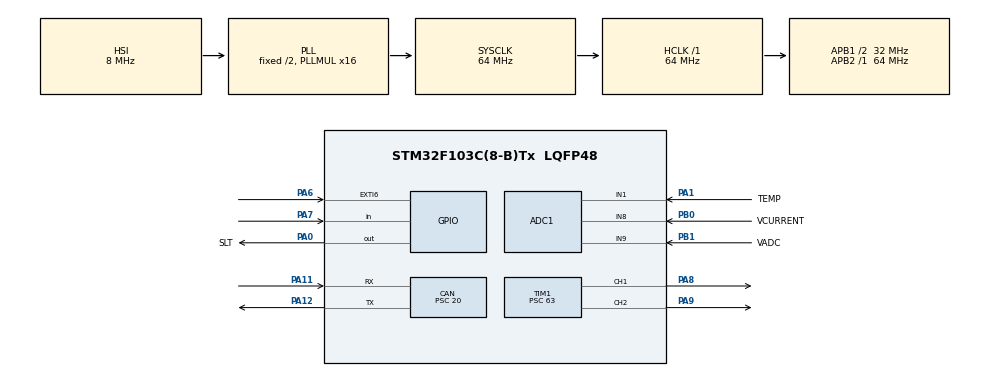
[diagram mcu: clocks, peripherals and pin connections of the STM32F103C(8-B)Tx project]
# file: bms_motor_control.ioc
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ADC1.Channel-0\#ChannelRegularConversion=ADC_CHANNEL_1
ADC1.NbrOfConversionFlag=1
ADC1.Rank-0\#ChannelRegularConversion=1
ADC1.SamplingTime-0\#ChannelRegularConversion=ADC_SAMPLETIME_1CYCLE_5
ADC1.master=1
CAN.BS1=CAN_BS1_13TQ
CAN.BS2=CAN_BS2_2TQ
CAN.CalculateBaudRate=100000
CAN.CalculateTimeBit=10000
CAN.CalculateTimeQuantum=625.0
CAN.Prescaler=20
Mcu.Family=STM32F1
Mcu.Name=STM32F103C(8-B)Tx
Mcu.Package=LQFP48
NVIC.EXTI9_5_IRQn=true\:0\:0\:true\:false\:true\:true\:true\:true
NVIC.PriorityGroup=NVIC_PRIORITYGROUP_4
NVIC.TIM2_IRQn=true\:2\:0\:true\:false\:true\:true\:true\:true
NVIC.USB_LP_CAN1_RX0_IRQn=true\:0\:0\:false\:false\:true\:true\:true\:true
PA0-WKUP.GPIO_Label=SLT
PA0-WKUP.Signal=GPIO_Output
PA1.GPIO_Label=TEMP
PA1.Signal=ADCx_IN1
PA11.Mode=CAN_Activate
PA11.Signal=CAN_RX
PA12.Mode=CAN_Activate
PA12.Signal=CAN_TX
PA13.Mode=Serial_Wire
PA13.Signal=SYS_JTMS-SWDIO
PA14.Mode=Serial_Wire
PA14.Signal=SYS_JTCK-SWCLK
PA6.GPIO_ModeDefaultEXTI=GPIO_MODE_IT_RISING_FALLING
PA6.GPIO_PuPd=GPIO_PULLUP
PA6.Signal=GPXTI6
PA7.GPIO_PuPd=GPIO_PULLUP
PA7.Signal=GPIO_Input
PA8.Signal=S_TIM1_CH1
PA9.Signal=S_TIM1_CH2
PB0.GPIO_Label=VCURRENT
PB0.Signal=ADCx_IN8
PB1.GPIO_Label=VADC
PB1.Signal=ADCx_IN9
ProjectManager.HeapSize=0x200
ProjectManager.StackSize=0x400
ProjectManager.TargetToolchain=STM32CubeIDE
RCC.ADCPresc=RCC_ADCPCLK2_DIV6
RCC.AHBFreq_Value=64000000
RCC.APB1CLKDivider=RCC_HCLK_DIV2
RCC.APB1Freq_Value=32000000
RCC.APB1TimFreq_Value=64000000
RCC.APB2Freq_Value=64000000
RCC.APB2TimFreq_Value=64000000
RCC.HCLKFreq_Value=64000000
RCC.PLLMUL=RCC_PLL_MUL16
RCC.SYSCLKFreq_VALUE=64000000
RCC.SYSCLKSource=RCC_SYSCLKSOURCE_PLLCLK
RCC.USBFreq_Value=64000000
SH.ADCx_IN1.0=ADC1_IN1,IN1
SH.ADCx_IN8.0=ADC1_IN8,IN8
SH.ADCx_IN9.0=ADC1_IN9,IN9
SH.S_TIM1_CH1.0=TIM1_CH1,PWM Generation1 CH1
SH.S_TIM1_CH2.0=TIM1_CH2,PWM Generation2 CH2
TIM1.Channel-PWM\ Generation1\ CH1=TIM_CHANNEL_1
TIM1.Channel-PWM\ Generation2\ CH2=TIM_CHANNEL_2
TIM1.Period=99
TIM1.Prescaler=63
TIM2.Period=100
TIM2.Prescaler=64000-1
VP_TIM1_VS_ClockSourceINT.Mode=Internal
VP_TIM2_VS_ClockSourceINT.Mode=Internal
board=custom

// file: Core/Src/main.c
/* USER CODE BEGIN Header */
/**
  ******************************************************************************
  * @file           : main.c
  * @brief          : Main program body
  ******************************************************************************
  * @attention
  *
  * Copyright (c) 2026 STMicroelectronics.
  * All rights reserved.
  *
  * This software is licensed under terms that can be found in the LICENSE file
  * in the root directory of this software component.
  * If no LICENSE file comes with this software, it is provided AS-IS.
  *
  ******************************************************************************
  */
/* USER CODE END Header */
#include "main.h"

/* USER CODE BEGIN Includes */
#include "sensor.h"
#include "motor.h"
#include "stdio.h"
/* USER CODE END Includes */

/* USER CODE BEGIN PD */
#define PPR 2640      // chỉnh theo motor
#define SAMPLE_TIME 0.1f  // 100ms
/* USER CODE END PD */

ADC_HandleTypeDef hadc1;

CAN_HandleTypeDef hcan;

TIM_HandleTypeDef htim1;
TIM_HandleTypeDef htim2;

/* USER CODE BEGIN PV */

volatile float rpm = 0;

float soc = 0.0;

CAN_RxHeaderTypeDef	RxHeader;
uint8_t RxData[2];
uint8_t RxCmdFlag;

CAN_TxHeaderTypeDef   TxHeader =
{
	.IDE = CAN_ID_STD,
	.RTR = CAN_RTR_DATA,
	.TransmitGlobalTime = DISABLE
};
uint8_t               TxData[8];
uint32_t              TxMailbox;
/* USER CODE END PV */

void SystemClock_Config(void);
static void MX_GPIO_Init(void);
static void MX_ADC1_Init(void);
static void MX_TIM1_Init(void);
static void MX_CAN_Init(void);
static void MX_TIM2_Init(void);
/* USER CODE BEGIN PFP */
volatile int32_t encoder_count = 0;
volatile int32_t last_count = 0;
void HAL_GPIO_EXTI_Callback(uint16_t GPIO_Pin)
{
    if (GPIO_Pin == GPIO_PIN_6)
    {
        encoder_count++;
    }
}

void HAL_TIM_PeriodElapsedCallback(TIM_HandleTypeDef *htim)
{
    if(htim->Instance == TIM2) // 100ms
    {
        int32_t now = encoder_count;
        int32_t delta = now - last_count;
        last_count = now;

        rpm = (delta * 600.0f) / PPR;
    }
}

void HAL_CAN_RxFifo0MsgPendingCallback(CAN_HandleTypeDef *hcan)
{
    if (HAL_CAN_GetError(hcan) != HAL_CAN_ERROR_NONE)
        return;
    HAL_CAN_GetRxMessage(hcan, CAN_RX_FIFO0, &RxHeader, RxData);

    if(RxHeader.StdId == 0x105 && RxHeader.DLC == 2)
    {
    	RxCmdFlag = 1;
    }
}

/* USER CODE END PFP */

/* USER CODE BEGIN 0 */
float offset = 0.0;
float temp = 0.0;
float Vbat = 0.0;
float current = 0.0;
float speed = 50;
/* USER CODE END 0 */

int main(void)
{

  /* MCU Configuration--------------------------------------------------------*/

  /* Reset of all peripherals, Initializes the Flash interface and the Systick. */
  HAL_Init();

  /* Configure the system clock */
  SystemClock_Config();

  /* Initialize all configured peripherals */
  MX_GPIO_Init();
  MX_ADC1_Init();
  MX_TIM1_Init();
  MX_CAN_Init();
  MX_TIM2_Init();
  /* USER CODE BEGIN 2 */
  HAL_CAN_Start(&hcan);

  HAL_TIM_Base_Start_IT(&htim2);
  Motor_Init(&htim1);
  Stop();

  offset = readOffset();
  /* USER CODE END 2 */

  /* Infinite loop */
  /* USER CODE BEGIN WHILE */
  HAL_Delay(100U);

  HAL_GPIO_WritePin(SLT_GPIO_Port, SLT_Pin, 0);
  HAL_CAN_ActivateNotification(&hcan, CAN_IT_RX_FIFO0_MSG_PENDING);

  while (1)
  {
    /* USER CODE END WHILE */

    /* USER CODE BEGIN 3 */
	temp = readTemperature();
	Vbat = readVbat();
	soc = (Vbat / 12.6) * 100;
	current = readCurrent(offset);

	/* Vehicle speed - read from pc */

	/* Motor status - read from pc */

	/* Battery voltage - send to pc */
	TxHeader.StdId = 0x401;
	TxHeader.DLC = 4;
	memcpy(TxData, &Vbat, 4);
	if(HAL_CAN_GetTxMailboxesFreeLevel(&hcan) > 0)
	{
		if (HAL_CAN_AddTxMessage(&hcan, &TxHeader, TxData, &TxMailbox) != HAL_OK)
		{
		   Error_Handler ();
		}
		HAL_Delay(1);
	}

	/* Battery current - send to pc */
	TxHeader.StdId = 0x402;
	TxHeader.DLC = 4;
	memcpy(TxData, &current, 4);
	if(HAL_CAN_GetTxMailboxesFreeLevel(&hcan) > 0)
	{
		if (HAL_CAN_AddTxMessage(&hcan, &TxHeader, TxData, &TxMailbox) != HAL_OK)
		{
		   Error_Handler ();
		}
		HAL_Delay(1);
	}

	/* Battery temp - send to pc */
	TxHeader.StdId = 0x403;
	TxHeader.DLC = 4;
	memcpy(TxData, &temp, 4);
	if(HAL_CAN_GetTxMailboxesFreeLevel(&hcan) > 0)
	{
		if (HAL_CAN_AddTxMessage(&hcan, &TxHeader, TxData, &TxMailbox) != HAL_OK)
		{
		   Error_Handler ();
		}
		HAL_Delay(1);
	}

	/* Battery soc - send to pc */
	TxHeader.StdId = 0x404;
	TxHeader.DLC = 4;
	memcpy(TxData, &soc, 4);
	if(HAL_CAN_GetTxMailboxesFreeLevel(&hcan) > 0)
	{
		if (HAL_CAN_AddTxMessage(&hcan, &TxHeader, TxData, &TxMailbox) != HAL_OK)
		{
		   Error_Handler ();
		}
		HAL_Delay(1);
	}

	/* Vehicle speed - send to pc rpm */
	TxHeader.StdId = 0x101;
	TxHeader.DLC = 4;
	memcpy(TxData, &rpm, 4);
	if(HAL_CAN_GetTxMailboxesFreeLevel(&hcan) > 0)
	{
		if (HAL_CAN_AddTxMessage(&hcan, &TxHeader, TxData, &TxMailbox) != HAL_OK)
		{
		   Error_Handler ();
		}
		HAL_Delay(1);
	}

	if(RxCmdFlag == 1)
	{
		/* Do cmd */
		if(RxData[0] == 1)
		{
			/* Go forward */
			uint8_t speed = RxData[1];
			goForward(speed);
		}
		else if(RxData[0] == 2)
		{
			/* Go backward */
			uint8_t speed = RxData[1];
			goBackward(speed);
		}
		else if(RxData[0] == 0)
		{
			/* Stop */
			Stop();
		}
		else
		{

		}
	}
	HAL_Delay(30U);
  }
  /* USER CODE END 3 */
}

void SystemClock_Config(void)
{
  RCC_OscInitTypeDef RCC_OscInitStruct = {0};
  RCC_ClkInitTypeDef RCC_ClkInitStruct = {0};
  RCC_PeriphCLKInitTypeDef PeriphClkInit = {0};

  /** Initializes the RCC Oscillators according to the specified parameters
  * in the RCC_OscInitTypeDef structure.
  */
  RCC_OscInitStruct.OscillatorType = RCC_OSCILLATORTYPE_HSI;
  RCC_OscInitStruct.HSIState = RCC_HSI_ON;
  RCC_OscInitStruct.HSICalibrationValue = RCC_HSICALIBRATION_DEFAULT;
  RCC_OscInitStruct.PLL.PLLState = RCC_PLL_ON;
  RCC_OscInitStruct.PLL.PLLSource = RCC_PLLSOURCE_HSI_DIV2;
  RCC_OscInitStruct.PLL.PLLMUL = RCC_PLL_MUL16;
  if (HAL_RCC_OscConfig(&RCC_OscInitStruct) != HAL_OK)
  {
    Error_Handler();
  }

  /** Initializes the CPU, AHB and APB buses clocks
  */
  RCC_ClkInitStruct.ClockType = RCC_CLOCKTYPE_HCLK|RCC_CLOCKTYPE_SYSCLK
                              |RCC_CLOCKTYPE_PCLK1|RCC_CLOCKTYPE_PCLK2;
  RCC_ClkInitStruct.SYSCLKSource = RCC_SYSCLKSOURCE_PLLCLK;
  RCC_ClkInitStruct.AHBCLKDivider = RCC_SYSCLK_DIV1;
  RCC_ClkInitStruct.APB1CLKDivider = RCC_HCLK_DIV2;
  RCC_ClkInitStruct.APB2CLKDivider = RCC_HCLK_DIV1;

  if (HAL_RCC_ClockConfig(&RCC_ClkInitStruct, FLASH_LATENCY_2) != HAL_OK)
  {
    Error_Handler();
  }
  PeriphClkInit.PeriphClockSelection = RCC_PERIPHCLK_ADC;
  PeriphClkInit.AdcClockSelection = RCC_ADCPCLK2_DIV6;
  if (HAL_RCCEx_PeriphCLKConfig(&PeriphClkInit) != HAL_OK)
  {
    Error_Handler();
  }
}

static void MX_ADC1_Init(void)
{

  ADC_ChannelConfTypeDef sConfig = {0};

  /** Common config
  */
  hadc1.Instance = ADC1;
  hadc1.Init.ScanConvMode = ADC_SCAN_DISABLE;
  hadc1.Init.ContinuousConvMode = DISABLE;
  hadc1.Init.DiscontinuousConvMode = DISABLE;
  hadc1.Init.ExternalTrigConv = ADC_SOFTWARE_START;
  hadc1.Init.DataAlign = ADC_DATAALIGN_RIGHT;
  hadc1.Init.NbrOfConversion = 1;
  if (HAL_ADC_Init(&hadc1) != HAL_OK)
  {
    Error_Handler();
  }

  /** Configure Regular Channel
  */
  sConfig.Channel = ADC_CHANNEL_1;
  sConfig.Rank = ADC_REGULAR_RANK_1;
  sConfig.SamplingTime = ADC_SAMPLETIME_1CYCLE_5;
  if (HAL_ADC_ConfigChannel(&hadc1, &sConfig) != HAL_OK)
  {
    Error_Handler();
  }

}

static void MX_CAN_Init(void)
{

  hcan.Instance = CAN1;
  hcan.Init.Prescaler = 20;
  hcan.Init.Mode = CAN_MODE_NORMAL;
  hcan.Init.SyncJumpWidth = CAN_SJW_1TQ;
  hcan.Init.TimeSeg1 = CAN_BS1_13TQ;
  hcan.Init.TimeSeg2 = CAN_BS2_2TQ;
  hcan.Init.TimeTriggeredMode = DISABLE;
  hcan.Init.AutoBusOff = DISABLE;
  hcan.Init.AutoWakeUp = DISABLE;
  hcan.Init.AutoRetransmission = DISABLE;
  hcan.Init.ReceiveFifoLocked = DISABLE;
  hcan.Init.TransmitFifoPriority = DISABLE;
  if (HAL_CAN_Init(&hcan) != HAL_OK)
  {
    Error_Handler();
  }
  /* USER CODE BEGIN CAN_Init 2 */
  CAN_FilterTypeDef canfilterconfig;

  canfilterconfig.FilterActivation = CAN_FILTER_ENABLE;
  canfilterconfig.FilterBank = 13;  // which filter bank to use from the assigned ones
  canfilterconfig.FilterFIFOAssignment = CAN_FILTER_FIFO0;
  canfilterconfig.FilterIdHigh = 0x0000;
  canfilterconfig.FilterIdLow = 0x0000;
  canfilterconfig.FilterMaskIdHigh = 0x0000;
  canfilterconfig.FilterMaskIdLow = 0x0000;
  canfilterconfig.FilterMode = CAN_FILTERMODE_IDMASK;
  canfilterconfig.FilterScale = CAN_FILTERSCALE_32BIT;
  canfilterconfig.SlaveStartFilterBank = 13;  // how many filters to assign to the CAN1 (master can)

  HAL_CAN_ConfigFilter(&hcan, &canfilterconfig);
  /* USER CODE END CAN_Init 2 */

}

static void MX_TIM1_Init(void)
{

  TIM_ClockConfigTypeDef sClockSourceConfig = {0};
  TIM_MasterConfigTypeDef sMasterConfig = {0};
  TIM_OC_InitTypeDef sConfigOC = {0};
  TIM_BreakDeadTimeConfigTypeDef sBreakDeadTimeConfig = {0};

  htim1.Instance = TIM1;
  htim1.Init.Prescaler = 63;
  htim1.Init.CounterMode = TIM_COUNTERMODE_UP;
  htim1.Init.Period = 99;
  htim1.Init.ClockDivision = TIM_CLOCKDIVISION_DIV1;
  htim1.Init.RepetitionCounter = 0;
  htim1.Init.AutoReloadPreload = TIM_AUTORELOAD_PRELOAD_DISABLE;
  if (HAL_TIM_Base_Init(&htim1) != HAL_OK)
  {
    Error_Handler();
  }
  sClockSourceConfig.ClockSource = TIM_CLOCKSOURCE_INTERNAL;
  if (HAL_TIM_ConfigClockSource(&htim1, &sClockSourceConfig) != HAL_OK)
  {
    Error_Handler();
  }
  if (HAL_TIM_PWM_Init(&htim1) != HAL_OK)
  {
    Error_Handler();
  }
  sMasterConfig.MasterOutputTrigger = TIM_TRGO_RESET;
  sMasterConfig.MasterSlaveMode = TIM_MASTERSLAVEMODE_DISABLE;
  if (HAL_TIMEx_MasterConfigSynchronization(&htim1, &sMasterConfig) != HAL_OK)
  {
    Error_Handler();
  }
  sConfigOC.OCMode = TIM_OCMODE_PWM1;
  sConfigOC.Pulse = 0;
  sConfigOC.OCPolarity = TIM_OCPOLARITY_HIGH;
  sConfigOC.OCNPolarity = TIM_OCNPOLARITY_HIGH;
  sConfigOC.OCFastMode = TIM_OCFAST_DISABLE;
  sConfigOC.OCIdleState = TIM_OCIDLESTATE_RESET;
  sConfigOC.OCNIdleState = TIM_OCNIDLESTATE_RESET;
  if (HAL_TIM_PWM_ConfigChannel(&htim1, &sConfigOC, TIM_CHANNEL_1) != HAL_OK)
  {
    Error_Handler();
  }
  if (HAL_TIM_PWM_ConfigChannel(&htim1, &sConfigOC, TIM_CHANNEL_2) != HAL_OK)
  {
    Error_Handler();
  }
  sBreakDeadTimeConfig.OffStateRunMode = TIM_OSSR_DISABLE;
  sBreakDeadTimeConfig.OffStateIDLEMode = TIM_OSSI_DISABLE;
  sBreakDeadTimeConfig.LockLevel = TIM_LOCKLEVEL_OFF;
  sBreakDeadTimeConfig.DeadTime = 0;
  sBreakDeadTimeConfig.BreakState = TIM_BREAK_DISABLE;
  sBreakDeadTimeConfig.BreakPolarity = TIM_BREAKPOLARITY_HIGH;
  sBreakDeadTimeConfig.AutomaticOutput = TIM_AUTOMATICOUTPUT_DISABLE;
  if (HAL_TIMEx_ConfigBreakDeadTime(&htim1, &sBreakDeadTimeConfig) != HAL_OK)
  {
    Error_Handler();
  }
  HAL_TIM_MspPostInit(&htim1);

}

static void MX_TIM2_Init(void)
{

  TIM_ClockConfigTypeDef sClockSourceConfig = {0};
  TIM_MasterConfigTypeDef sMasterConfig = {0};

  htim2.Instance = TIM2;
  htim2.Init.Prescaler = 64000-1;
  htim2.Init.CounterMode = TIM_COUNTERMODE_UP;
  htim2.Init.Period = 100;
  htim2.Init.ClockDivision = TIM_CLOCKDIVISION_DIV1;
  htim2.Init.AutoReloadPreload = TIM_AUTORELOAD_PRELOAD_DISABLE;
  if (HAL_TIM_Base_Init(&htim2) != HAL_OK)
  {
    Error_Handler();
  }
  sClockSourceConfig.ClockSource = TIM_CLOCKSOURCE_INTERNAL;
  if (HAL_TIM_ConfigClockSource(&htim2, &sClockSourceConfig) != HAL_OK)
  {
    Error_Handler();
  }
  sMasterConfig.MasterOutputTrigger = TIM_TRGO_RESET;
  sMasterConfig.MasterSlaveMode = TIM_MASTERSLAVEMODE_DISABLE;
  if (HAL_TIMEx_MasterConfigSynchronization(&htim2, &sMasterConfig) != HAL_OK)
  {
    Error_Handler();
  }

}

static void MX_GPIO_Init(void)
{
  GPIO_InitTypeDef GPIO_InitStruct = {0};

  /* GPIO Ports Clock Enable */
  __HAL_RCC_GPIOA_CLK_ENABLE();
  __HAL_RCC_GPIOB_CLK_ENABLE();

  /*Configure GPIO pin Output Level */
  HAL_GPIO_WritePin(SLT_GPIO_Port, SLT_Pin, GPIO_PIN_RESET);

  /*Configure GPIO pin : SLT_Pin */
  GPIO_InitStruct.Pin = SLT_Pin;
  GPIO_InitStruct.Mode = GPIO_MODE_OUTPUT_PP;
  GPIO_InitStruct.Pull = GPIO_NOPULL;
  GPIO_InitStruct.Speed = GPIO_SPEED_FREQ_LOW;
  HAL_GPIO_Init(SLT_GPIO_Port, &GPIO_InitStruct);

  /*Configure GPIO pin : PA6 */
  GPIO_InitStruct.Pin = GPIO_PIN_6;
  GPIO_InitStruct.Mode = GPIO_MODE_IT_RISING_FALLING;
  GPIO_InitStruct.Pull = GPIO_PULLUP;
  HAL_GPIO_Init(GPIOA, &GPIO_InitStruct);

  /*Configure GPIO pin : PA7 */
  GPIO_InitStruct.Pin = GPIO_PIN_7;
  GPIO_InitStruct.Mode = GPIO_MODE_INPUT;
  GPIO_InitStruct.Pull = GPIO_PULLUP;
  HAL_GPIO_Init(GPIOA, &GPIO_InitStruct);

  /* EXTI interrupt init*/
  HAL_NVIC_SetPriority(EXTI9_5_IRQn, 0, 0);
  HAL_NVIC_EnableIRQ(EXTI9_5_IRQn);

}

void Error_Handler(void)
{
  __disable_irq();
  while (1)
  {
  }
}
